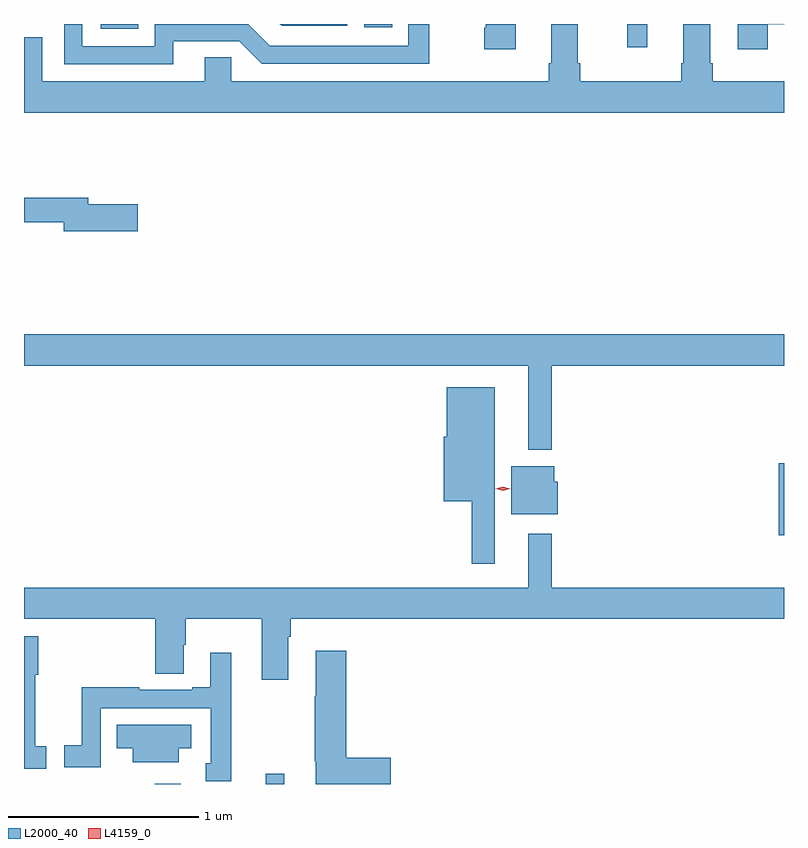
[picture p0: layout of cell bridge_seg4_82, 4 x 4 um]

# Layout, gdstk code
import gdstk
lib = gdstk.Library(unit=1e-6, precision=1e-09)
def R(c, l, rs):  # rectangles x0, y0, x1, y1
    for r in rs: c.add(gdstk.rectangle(r[:2], r[2:], *l))
def P(c, l, *ps):  # polygons
    for p in ps: c.add(gdstk.Polygon(p, *l))
L2000_40 = (2000, 40)
L4159_0 = (4159, 0)

bridge_seg4_82 = lib.new_cell('bridge_seg4_82')
R(bridge_seg4_82, L2000_40, [(376.278,799.946,376.414,799.948), (376.863,799.946,376.96,799.999), (379.562,801.254,379.59,801.634), (378.766,803.823,378.869,803.946), (375.993,803.921,376.191,803.946), (377.382,803.928,377.528,803.946)])
P(bridge_seg4_82, L2000_40, [(378.178,803.946),(378.02,803.946),(378.02,803.926),(378.013,803.926),(378.013,803.814),(378.178,803.814)],
  [(376.375,803.856),(376.722,803.856),(376.842,803.736),(377.722,803.736),(377.722,803.946),(377.613,803.946),(377.613,803.832),(376.884,803.832),(376.77,803.946),(376.278,803.946),(376.278,803.829),(375.897,803.829),(375.897,803.946),(375.801,803.946),(375.801,803.733),(376.375,803.733)],
  [(379.59,803.644),(379.214,803.644),(379.214,803.74),(379.201,803.74),(379.201,803.946),(379.061,803.946),(379.061,803.74),(379.049,803.74),(379.049,803.644),(378.518,803.644),(378.518,803.74),(378.505,803.74),(378.505,803.946),(378.365,803.946),(378.365,803.74),(378.353,803.74),(378.353,803.644),(376.68,803.644),(376.68,803.771),(376.541,803.771),(376.541,803.644),(375.685,803.644),(375.685,803.876),(375.59,803.876),(375.59,803.48),(379.59,803.48)],
  [(377.292,803.946),(376.937,803.946),(376.946,803.937),(377.292,803.937)],
  [(379.505,803.945),(379.59,803.945),(379.59,803.946),(379.346,803.946),(379.346,803.814),(379.505,803.814)],
  [(376.189,802.998),(375.928,802.998),(375.928,803.032),(375.59,803.032),(375.59,802.903),(375.8,802.903),(375.8,802.856),(376.189,802.856)],
  [(378.367,802.148),(379.59,802.148),(379.59,802.312),(375.59,802.312),(375.59,802.148),(378.245,802.148),(378.245,801.704),(378.367,801.704)],
  [(378.067,802.033),(377.816,802.033),(377.816,801.774),(377.798,801.774),(377.798,801.434),(377.946,801.434),(377.946,801.105),(378.067,801.105)],
  [(378.4,801.537),(378.382,801.537),(378.382,801.619),(378.155,801.619),(378.155,801.365),(378.4,801.365)],
  [(376.981,800.72),(376.994,800.72),(376.994,800.816),(379.59,800.816),(379.59,800.98),(378.367,800.98),(378.367,801.262),(378.245,801.262),(378.245,800.98),(375.59,800.98),(375.59,800.816),(376.28,800.816),(376.28,800.527),(376.432,800.527),(376.432,800.678),(376.44,800.678),(376.44,800.816),(376.841,800.816),(376.841,800.496),(376.981,800.496)],
  [(375.706,800.145),(375.648,800.145),(375.648,800.521),(375.665,800.521),(375.665,800.724),(375.59,800.724),(375.59,800.025),(375.706,800.025)],
  [(377.521,800.084),(377.285,800.084),(377.285,800.647),(377.126,800.647),(377.126,800.408),(377.119,800.408),(377.119,800.067),(377.126,800.067),(377.126,799.946),(377.521,799.946)],
  [(376.681,800.638),(376.571,800.638),(376.571,800.455),(376.475,800.455),(376.475,800.442),(376.196,800.442),(376.196,800.455),(375.895,800.455),(375.895,800.15),(375.801,800.15),(375.801,800.034),(375.993,800.034),(375.993,800.346),(376.572,800.346),(376.572,800.055),(376.547,800.055),(376.547,799.961),(376.681,799.961)],
  [(376.405,800.135),(376.471,800.135),(376.471,800.257),(376.078,800.257),(376.078,800.135),(376.163,800.135),(376.163,800.06),(376.405,800.06)])
P(bridge_seg4_82, L4159_0, [(378.111,801.49),(378.074,801.501),(378.073,801.501),(378.074,801.501),(378.111,801.51),(378.148,801.499),(378.148,801.499),(378.148,801.499)])

lib.write_gds('bridge_seg4_82.gds')
